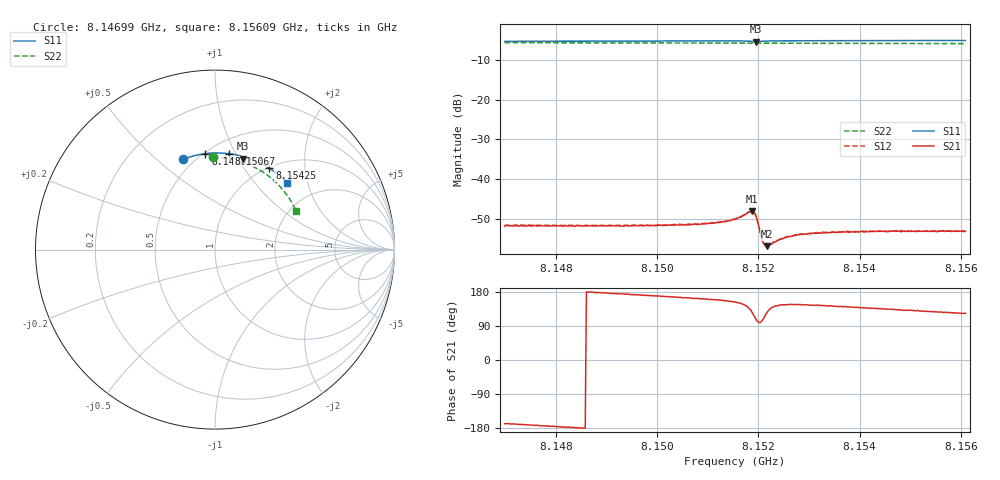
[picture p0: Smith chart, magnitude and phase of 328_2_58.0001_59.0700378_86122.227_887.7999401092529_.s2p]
#  HZ  S  RI  R  50.00
! Rohde & Schwarz Vector Network Analyzer
! Rohde-Schwarz,ZNB20-2Port,1311601062101988,3.16
! Created: UTC 3/21/2024, 1:04:59 AM
! freq[Hz]  re:S11  im:S11  re:S21  im:S21  re:S12  im:S12  re:S22  im:S22
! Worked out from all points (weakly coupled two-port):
!   401 points, 8.14699 GHz to 8.15609 GHz, reference 50 ohm
!   highest |S21| = -47.94 dB at 8.15188 GHz (marker M1); lowest = -56.7 dB at 8.15218 GHz (marker M2)
!   lowest |S11| = -5.5 dB at 8.15195 GHz (marker M3), VSWR 3.26, Z = 37.2 + j52.4 ohm
!   |S11| at or under -10 dB: nowhere
!   |S22| runs from -6.0 to -5.8 dB; largest |S21 - S12| = 0.00014
!   S11 on the Smith chart (normalised r, x): 8.14699 GHz: 0.44, +0.61; 8.14883 GHz: 0.51, +0.77; 8.15067 GHz: 0.62, +0.94; 8.15425 GHz: 1.02, +1.31; 8.15609 GHz: 1.41, +1.50
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8.146985e9  -0.1778 0.5035  -0.00253 -0.00054  -0.00262 -0.000516  -0.00958 0.5137
8.14851e9  -0.075 0.5314  -0.00261 -1.07e-05  -0.00267 4.44e-05  0.0896 0.5041
8.148829e9  -0.0529 0.5345  -0.00261 8.41e-05  -0.00268 0.000147  0.1098 0.4999
8.150036e9  0.0309 0.5385  -0.00261 0.000517  -0.00264 0.000576  0.1841 0.4758
8.150673e9  0.0753 0.5349  -0.00262 0.000809  -0.00262 0.000844  0.2212 0.4585
8.151174e9  0.1102 0.5296  -0.00269 0.00105  -0.00265 0.0011  0.2495 0.4429
8.151538e9  0.1363 0.5234  -0.00283 0.00144  -0.00282 0.0015  0.2692 0.4307
8.151812e9  0.1559 0.5137  -0.00285 0.00264  -0.00284 0.00274  0.2834 0.4206
8.15188e9  0.1586 0.509  -0.00229 0.00329  -0.0023 0.00331  0.287 0.4179
8.151925e9  0.1583 0.5066  -0.00155 0.00347  -0.00153 0.00351  0.2891 0.4163
8.151948e9  0.1576 0.5063  -0.00112 0.00337  -0.0011 0.00339  0.2903 0.4155
8.151971e9  0.1572 0.5065  -0.000734 0.00314  -0.000721 0.00315  0.2914 0.4147
8.152085e9  0.1619 0.5114  -0.000463 0.00159  -0.00045 0.00164  0.2971 0.4106
8.15213e9  0.1656 0.512  -0.000655 0.00134  -0.000655 0.00136  0.2996 0.4088
8.152176e9  0.1695 0.5121  -0.000868 0.00118  -0.000882 0.00122  0.3016 0.4072
8.152449e9  0.1901 0.5077  -0.00148 0.00103  -0.00151 0.00104  0.3156 0.3962
8.152563e9  0.1981 0.5053  -0.00158 0.00107  -0.00159 0.00109  0.3211 0.3915
8.152859e9  0.2179 0.4978  -0.00169 0.00116  -0.0017 0.00121  0.3349 0.379
8.153064e9  0.2313 0.4922  -0.00172 0.00123  -0.00173 0.00124  0.3444 0.37
8.154248e9  0.3036 0.4534  -0.00164 0.00155  -0.00161 0.00155  0.3935 0.314
8.154589e9  0.3232 0.4401  -0.00156 0.0016  -0.00157 0.00165  0.4061 0.2967
8.156092e9  0.4015 0.3729  -0.00123 0.00186  -0.00119 0.00192  0.4518 0.215
